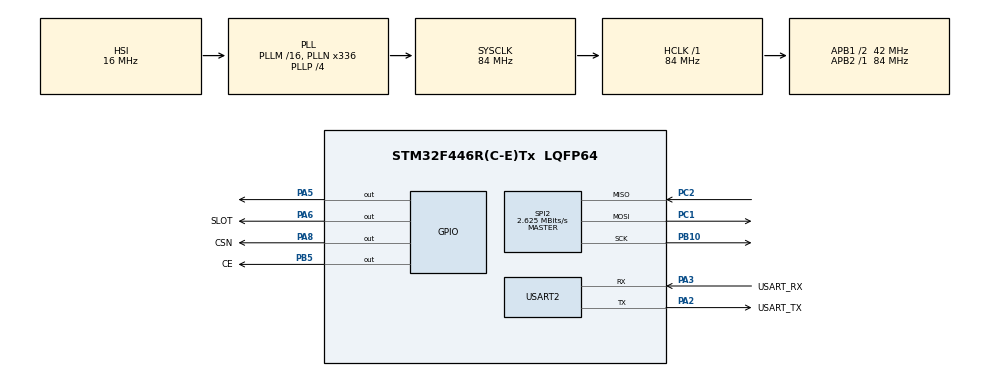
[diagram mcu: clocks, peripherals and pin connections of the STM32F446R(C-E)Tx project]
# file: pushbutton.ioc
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Mcu.Family=STM32F4
Mcu.Name=STM32F446R(C-E)Tx
Mcu.Package=LQFP64
NUCLEO-F446RE.BUTTON=0
NUCLEO-F446RE.Bsp_Common_DEMO=true
NUCLEO-F446RE.LD1=false
NVIC.PriorityGroup=NVIC_PRIORITYGROUP_0
NVIC.SPI2_IRQn=true\:0\:0\:false\:false\:true\:true\:true\:true
NVIC.TIM2_IRQn=true\:0\:0\:false\:false\:true\:true\:true\:true
PA13.GPIO_Label=TMS
PA13.Signal=SYS_JTMS-SWDIO
PA14.GPIO_Label=TCK
PA14.Signal=SYS_JTCK-SWCLK
PA2.GPIO_Label=USART_TX
PA2.Mode=Asynchronous
PA2.Signal=USART2_TX
PA3.GPIO_Label=USART_RX
PA3.Mode=Asynchronous
PA3.Signal=USART2_RX
PA5.Signal=GPIO_Output
PA6.GPIO_Label=SLOT
PA6.Signal=GPIO_Output
PA8.GPIO_Label=CSN
PA8.PinState=GPIO_PIN_SET
PA8.Signal=GPIO_Output
PB10.Mode=Full_Duplex_Master
PB10.Signal=SPI2_SCK
PB3.GPIO_Label=SWO
PB3.Signal=SYS_JTDO-SWO
PB5.GPIO_Label=CE
PB5.Signal=GPIO_Output
PC1.Mode=Full_Duplex_Master
PC1.Signal=SPI2_MOSI
PC14-OSC32_IN.Signal=RCC_OSC32_IN
PC15-OSC32_OUT.Signal=RCC_OSC32_OUT
PC2.Mode=Full_Duplex_Master
PC2.Signal=SPI2_MISO
PH0-OSC_IN.Signal=RCC_OSC_IN
PH1-OSC_OUT.Signal=RCC_OSC_OUT
ProjectManager.HeapSize=0x200
ProjectManager.StackSize=0x400
ProjectManager.TargetToolchain=CMake
RCC.AHBFreq_Value=84000000
RCC.APB1CLKDivider=RCC_HCLK_DIV2
RCC.APB1Freq_Value=42000000
RCC.APB1TimFreq_Value=84000000
RCC.APB2Freq_Value=84000000
RCC.APB2TimFreq_Value=84000000
RCC.CortexFreq_Value=84000000
RCC.FLatency-AdvancedSettings=FLASH_LATENCY_2
RCC.HCLKFreq_Value=84000000
RCC.HSE_VALUE=8000000
RCC.HSI_VALUE=16000000
RCC.LSE_VALUE=32768
RCC.PLLN=336
RCC.PLLP=RCC_PLLP_DIV4
RCC.SYSCLKFreq_VALUE=84000000
RCC.SYSCLKSource=RCC_SYSCLKSOURCE_PLLCLK
RCC.USBFreq_Value=168000000
RCC.VCOOutputFreq_Value=336000000
SPI2.BaudRatePrescaler=SPI_BAUDRATEPRESCALER_16
SPI2.CalculateBaudRate=2.625 MBits/s
SPI2.Direction=SPI_DIRECTION_2LINES
SPI2.Mode=SPI_MODE_MASTER
SPI2.VirtualType=VM_MASTER
TIM2.AutoReloadPreload=TIM_AUTORELOAD_PRELOAD_ENABLE
TIM2.Period=4294967295
TIM2.Prescaler=83
USART2.VirtualMode=VM_ASYNC
VP_NUCLEO-F446RE_VS_BSP_COMMON.Mode=COMMON
VP_TIM2_VS_ClockSourceINT.Mode=Internal
board=NUCLEO-F446RE

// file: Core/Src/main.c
/* USER CODE BEGIN Header */
/**
  ******************************************************************************
  * @file           : main.c
  * @brief          : Main program body
  ******************************************************************************
  * @attention
  *
  * Copyright (c) 2026 STMicroelectronics.
  * All rights reserved.
  *
  * This software is licensed under terms that can be found in the LICENSE file
  * in the root directory of this software component.
  * If no LICENSE file comes with this software, it is provided AS-IS.
  *
  ******************************************************************************
  */
/* USER CODE END Header */
#include "main.h"

/* USER CODE BEGIN Includes */
#include "main.h"
#include "stm32f4xx_hal.h"
#include "stm32f4xx_hal_def.h"
#include "stm32f4xx_hal_gpio.h"
#include "stm32f4xx_hal_spi.h"
#include <stdint.h>
#include <stdio.h>
#include "../../Net/Inc/packet.h"
#include "../../Radio/Inc/nrf24l01.h"
#include "../../Net/Inc/sync.h"

/* USER CODE END Includes */

/* USER CODE BEGIN PD */
#define NODE_ID 0 // transmitter = 0 and receivers = 1, 2

/* USER CODE END PD */

SPI_HandleTypeDef hspi2;

TIM_HandleTypeDef htim2;

UART_HandleTypeDef huart2;

/* USER CODE BEGIN PV */
static uint8_t tx_seq = 0;
/* USER CODE END PV */

void SystemClock_Config(void);
static void MX_GPIO_Init(void);
static void MX_TIM2_Init(void);
static void MX_USART2_UART_Init(void);
static void MX_SPI2_Init(void);

/* USER CODE BEGIN 0 */

void HAL_TIM_PeriodElapsedCallback(TIM_HandleTypeDef *htim) {
  if (htim->Instance == TIM2){
    HAL_GPIO_TogglePin(SLOT_GPIO_Port, SLOT_Pin);
  }
}

#if NODE_ID ==1

static uint8_t relay_packet(pkt_t pkt){

  uint8_t status;
  pkt.src = NODE_ID; // N1 will send this copy

  // to switch N1 to be a transmitter (to relay pckts to N2), we need to bring CE low, then bring it up later
  HAL_GPIO_WritePin(CE_GPIO_Port, CE_Pin, GPIO_PIN_RESET);

  // TRANSMIT MODE (prim_rx = 0 is transmit mode)
  nrf_write_reg(NRF_REG_CONFIG, NRF_CONFIG_EN_CRC | NRF_CONFIG_PWR_UP);

  //put packet in the TX FIFO, to be sent
  nrf_write_payload((const uint8_t *)&pkt, NRF24_PAYLOAD_LEN);

  // section 6.1.5 in datasheet
  // this pulse starts a TX send
  HAL_GPIO_WritePin(CE_GPIO_Port, CE_Pin, GPIO_PIN_SET);
  HAL_Delay(1);
  HAL_GPIO_WritePin(CE_GPIO_Port, CE_Pin, GPIO_PIN_RESET);

  uint32_t start = HAL_GetTick();
  // keep checking while packet is not sent yet & less than 10 ms have passed
  do {
    nrf_read_reg(NRF_REG_STATUS, &status);
  } while (!(status & NRF_STATUS_TX_DS) && (HAL_GetTick() - start) < 10);

  uint8_t ok = (status & NRF_STATUS_TX_DS) ? 1 : 0;
  if (!ok) {
    nrf_cmd(NRF_FLUSH_TX);
  }
  nrf_write_reg(NRF_REG_STATUS, NRF_STATUS_TX_DS); // write 1 to clear

  // go back to RX mode
  nrf_write_reg(NRF_REG_CONFIG, NRF_CONFIG_EN_CRC | NRF_CONFIG_PWR_UP | NRF_CONFIG_PRIM_RX);
  HAL_GPIO_WritePin(CE_GPIO_Port, CE_Pin, GPIO_PIN_SET);
  return ok;

}

#endif

/* USER CODE END 0 */

int main(void)
{

  /* MCU Configuration--------------------------------------------------------*/

  /* Reset of all peripherals, Initializes the Flash interface and the Systick. */
  HAL_Init();

  /* Configure the system clock */
  SystemClock_Config();

  /* Initialize all configured peripherals */
  MX_GPIO_Init();
  MX_TIM2_Init();
  MX_USART2_UART_Init();
  MX_SPI2_Init();
  /* USER CODE BEGIN 2 */

  HAL_Delay(100);

  if (nrf_init(&hspi2) != HAL_OK) {
    const char msg[] = "nrf_init FAILED\r\n";
    HAL_UART_Transmit(&huart2, (uint8_t *)msg, sizeof(msg) - 1, 100);
  }

  // Primary transmitter (PTX) address and receive address data pipe 0
   const uint8_t addr[5] = {0xE7, 0xE7, 0xE7, 0xE7, 0xE7};

  // radio config, same on board boards eexcept CONFIG and CE
  nrf_write_reg(NRF_REG_CONFIG, 0x00); // power radio down while changing settins
  nrf_write_reg(NRF_REG_RF_CH, 0x2A);
  nrf_write_reg(NRF_REG_RF_SETUP, 0x06);
  nrf_write_reg(NRF_REG_SETUP_AW, 0x03); // set to 5 byte addresses
  nrf_write_reg(NRF_REG_EN_AA, 0x00); // Tturn auto ack off. just broadcast w no replies
  nrf_write_reg(NRF_REG_EN_RXADDR, 0x01); // enable pipe 0 only
  nrf_write_reg(NRF_REG_SETUP_RETR, 0x00); // no retransmits

  nrf_write_buf(NRF_REG_TX_ADDR, addr, 5);      // who we send to
  nrf_write_buf(NRF_REG_RX_ADDR_P0, addr, 5);   // same address: RX listens here, TX hears its ack here
  nrf_write_reg(NRF_REG_RX_PW_P0, NRF24_PAYLOAD_LEN);

  nrf_cmd(NRF_FLUSH_TX);
  nrf_cmd(NRF_FLUSH_RX);
  nrf_write_reg(NRF_REG_STATUS, NRF_STATUS_RX_DR | NRF_STATUS_TX_DS | NRF_STATUS_MAX_RT);

  // Power radio on for both boards!
  #if NODE_ID == 0
    nrf_write_reg(NRF_REG_CONFIG, NRF_CONFIG_EN_CRC | NRF_CONFIG_PWR_UP);
    HAL_Delay(2); // POWER up time is about 1.5ms
  #else
    // set primary receiver bits
    nrf_write_reg(NRF_REG_CONFIG, NRF_CONFIG_EN_CRC | NRF_CONFIG_PWR_UP | NRF_CONFIG_PRIM_RX);
    HAL_Delay(2);
    HAL_GPIO_WritePin(CE_GPIO_Port, CE_Pin, GPIO_PIN_SET);   // start listening, leave high
  #endif

  uint8_t cfg, ch, pw;
  nrf_read_reg(NRF_REG_CONFIG, &cfg);
  nrf_read_reg(NRF_REG_RF_CH, &ch);
  nrf_read_reg(NRF_REG_RX_PW_P0, &pw);
  char msg[64];
  int len = snprintf(msg, sizeof msg, "N%d CONFIG=0x%02X RF_CH=0x%02X RX_PW_P0=%u\r\n",
                     NODE_ID, cfg, ch, pw);
  HAL_UART_Transmit(&huart2, (uint8_t *)msg, len, 100);

  HAL_TIM_Base_Start_IT(&htim2);
  sync_init(NODE_ID);

  /* USER CODE END 2 */

  /* USER CODE BEGIN BSP */

  /* -- Sample board code to switch on leds ---- */
  BSP_LED_On(LED2);

  /* USER CODE END BSP */

  /* Infinite loop */
  while (1)
  {

    /* USER CODE BEGIN 3 */

    uint8_t status;

    #if NODE_ID == 0
      //uint8_t payload[NRF24_PAYLOAD_LEN] = {1,2,3,4};
      pkt_t pkt;
      pkt.type = PKT_BEACON;
      pkt.src = NODE_ID;
      pkt.origin = NODE_ID;
      pkt.seq = tx_seq++;

      nrf_write_payload((const uint8_t *)&pkt, NRF24_PAYLOAD_LEN);

      HAL_GPIO_WritePin(CE_GPIO_Port, CE_Pin, GPIO_PIN_SET );
      HAL_Delay(1);
      HAL_GPIO_WritePin(CE_GPIO_Port, CE_Pin, GPIO_PIN_RESET );

      uint32_t start = HAL_GetTick();
      do {
        nrf_read_reg(NRF_REG_STATUS, &status);
      } while (!(status & (NRF_STATUS_TX_DS | NRF_STATUS_MAX_RT)) && (HAL_GetTick() - start)<10);

      if (status & NRF_STATUS_TX_DS) {
        char msg[48];
        int len = snprintf(msg, sizeof msg, "TX seq=%u t=%lu\r\n",
                          pkt.seq, (unsigned long)sync_now_us());
        HAL_UART_Transmit(&huart2, (uint8_t *)msg, len, 100);

      } else if (status & NRF_STATUS_MAX_RT){
        const char msg[] = "MAX number of retransmits \r\n";
        HAL_UART_Transmit(&huart2, (uint8_t *)msg, sizeof(msg) - 1, 100);
        nrf_cmd(NRF_FLUSH_TX); // failed packet still in outbox

      } else {
        const char msg[] = " Timeout. Neither light came on \r\n";
        HAL_UART_Transmit(&huart2, (uint8_t *)msg, sizeof(msg) - 1, 100);

      }
      //status reg is write 1 to clear
      nrf_write_reg(NRF_REG_STATUS, NRF_STATUS_TX_DS | NRF_STATUS_MAX_RT); //clear both of the TX flags
      HAL_Delay(500);
    #else
    // if the board is the RX board
      nrf_read_reg(NRF_REG_STATUS, &status);
      if( status & NRF_STATUS_RX_DR) {
        // copy of radio's 1-byte status register for FIFO info
        uint8_t fifo;
        do {
          pkt_t pkt;
          nrf_read_payload((uint8_t *)&pkt, NRF24_PAYLOAD_LEN);
          nrf_write_reg(NRF_REG_STATUS, NRF_STATUS_RX_DR);

          uint8_t accept = (NODE_ID != 2) || (pkt.src == 1); // Node 2 can only receive txed pckts from N1
          if (accept) {
            const char *note = "";
            # if NODE_ID == 1
            if (pkt.src == 0){
              note = relay_packet(pkt) ? " Relay successful" : " Relay failed";
            }
            #endif
            char msg[64];
            int len = snprintf(msg, sizeof msg, "RX type=%u src=%u origin=%u seq=%u%s\r\n",
                              pkt.type, pkt.src, pkt.origin, pkt.seq, note);
            HAL_UART_Transmit(&huart2, (uint8_t *)msg, len, 100);
          }
          nrf_read_reg(NRF_REG_FIFO_STATUS, &fifo); // reads if FIFO is empty or not, but in FIFO
        } while (!(fifo & NRF_FIFO_RX_EMPTY)); // if fifo not empty, repeat
      }
    #endif

  }
  /* USER CODE END 3 */
}

void SystemClock_Config(void)
{
  RCC_OscInitTypeDef RCC_OscInitStruct = {0};
  RCC_ClkInitTypeDef RCC_ClkInitStruct = {0};

  /** Configure the main internal regulator output voltage
  */
  __HAL_RCC_PWR_CLK_ENABLE();
  __HAL_PWR_VOLTAGESCALING_CONFIG(PWR_REGULATOR_VOLTAGE_SCALE3);

  /** Initializes the RCC Oscillators according to the specified parameters
  * in the RCC_OscInitTypeDef structure.
  */
  RCC_OscInitStruct.OscillatorType = RCC_OSCILLATORTYPE_HSI;
  RCC_OscInitStruct.HSIState = RCC_HSI_ON;
  RCC_OscInitStruct.HSICalibrationValue = RCC_HSICALIBRATION_DEFAULT;
  RCC_OscInitStruct.PLL.PLLState = RCC_PLL_ON;
  RCC_OscInitStruct.PLL.PLLSource = RCC_PLLSOURCE_HSI;
  RCC_OscInitStruct.PLL.PLLM = 16;
  RCC_OscInitStruct.PLL.PLLN = 336;
  RCC_OscInitStruct.PLL.PLLP = RCC_PLLP_DIV4;
  RCC_OscInitStruct.PLL.PLLQ = 2;
  RCC_OscInitStruct.PLL.PLLR = 2;
  if (HAL_RCC_OscConfig(&RCC_OscInitStruct) != HAL_OK)
  {
    Error_Handler();
  }

  /** Initializes the CPU, AHB and APB buses clocks
  */
  RCC_ClkInitStruct.ClockType = RCC_CLOCKTYPE_HCLK|RCC_CLOCKTYPE_SYSCLK
                              |RCC_CLOCKTYPE_PCLK1|RCC_CLOCKTYPE_PCLK2;
  RCC_ClkInitStruct.SYSCLKSource = RCC_SYSCLKSOURCE_PLLCLK;
  RCC_ClkInitStruct.AHBCLKDivider = RCC_SYSCLK_DIV1;
  RCC_ClkInitStruct.APB1CLKDivider = RCC_HCLK_DIV2;
  RCC_ClkInitStruct.APB2CLKDivider = RCC_HCLK_DIV1;

  if (HAL_RCC_ClockConfig(&RCC_ClkInitStruct, FLASH_LATENCY_2) != HAL_OK)
  {
    Error_Handler();
  }
}

static void MX_SPI2_Init(void)
{

  /* SPI2 parameter configuration*/
  hspi2.Instance = SPI2;
  hspi2.Init.Mode = SPI_MODE_MASTER;
  hspi2.Init.Direction = SPI_DIRECTION_2LINES;
  hspi2.Init.DataSize = SPI_DATASIZE_8BIT;
  hspi2.Init.CLKPolarity = SPI_POLARITY_LOW;
  hspi2.Init.CLKPhase = SPI_PHASE_1EDGE;
  hspi2.Init.NSS = SPI_NSS_SOFT;
  hspi2.Init.BaudRatePrescaler = SPI_BAUDRATEPRESCALER_16;
  hspi2.Init.FirstBit = SPI_FIRSTBIT_MSB;
  hspi2.Init.TIMode = SPI_TIMODE_DISABLE;
  hspi2.Init.CRCCalculation = SPI_CRCCALCULATION_DISABLE;
  hspi2.Init.CRCPolynomial = 10;
  if (HAL_SPI_Init(&hspi2) != HAL_OK)
  {
    Error_Handler();
  }

}

static void MX_TIM2_Init(void)
{

  TIM_ClockConfigTypeDef sClockSourceConfig = {0};
  TIM_MasterConfigTypeDef sMasterConfig = {0};

  htim2.Instance = TIM2;
  htim2.Init.Prescaler = 83;
  htim2.Init.CounterMode = TIM_COUNTERMODE_UP;
  htim2.Init.Period = 4294967295;
  htim2.Init.ClockDivision = TIM_CLOCKDIVISION_DIV1;
  htim2.Init.AutoReloadPreload = TIM_AUTORELOAD_PRELOAD_ENABLE;
  if (HAL_TIM_Base_Init(&htim2) != HAL_OK)
  {
    Error_Handler();
  }
  sClockSourceConfig.ClockSource = TIM_CLOCKSOURCE_INTERNAL;
  if (HAL_TIM_ConfigClockSource(&htim2, &sClockSourceConfig) != HAL_OK)
  {
    Error_Handler();
  }
  sMasterConfig.MasterOutputTrigger = TIM_TRGO_RESET;
  sMasterConfig.MasterSlaveMode = TIM_MASTERSLAVEMODE_DISABLE;
  if (HAL_TIMEx_MasterConfigSynchronization(&htim2, &sMasterConfig) != HAL_OK)
  {
    Error_Handler();
  }

}

static void MX_USART2_UART_Init(void)
{

  huart2.Instance = USART2;
  huart2.Init.BaudRate = 115200;
  huart2.Init.WordLength = UART_WORDLENGTH_8B;
  huart2.Init.StopBits = UART_STOPBITS_1;
  huart2.Init.Parity = UART_PARITY_NONE;
  huart2.Init.Mode = UART_MODE_TX_RX;
  huart2.Init.HwFlowCtl = UART_HWCONTROL_NONE;
  huart2.Init.OverSampling = UART_OVERSAMPLING_16;
  if (HAL_UART_Init(&huart2) != HAL_OK)
  {
    Error_Handler();
  }

}

static void MX_GPIO_Init(void)
{
  GPIO_InitTypeDef GPIO_InitStruct = {0};

  /* GPIO Ports Clock Enable */
  __HAL_RCC_GPIOC_CLK_ENABLE();
  __HAL_RCC_GPIOH_CLK_ENABLE();
  __HAL_RCC_GPIOA_CLK_ENABLE();
  __HAL_RCC_GPIOB_CLK_ENABLE();

  /*Configure GPIO pin Output Level */
  HAL_GPIO_WritePin(GPIOA, GPIO_PIN_5|SLOT_Pin, GPIO_PIN_RESET);

  /*Configure GPIO pin Output Level */
  HAL_GPIO_WritePin(CSN_GPIO_Port, CSN_Pin, GPIO_PIN_SET);

  /*Configure GPIO pin Output Level */
  HAL_GPIO_WritePin(CE_GPIO_Port, CE_Pin, GPIO_PIN_RESET);

  /*Configure GPIO pins : PA5 SLOT_Pin CSN_Pin */
  GPIO_InitStruct.Pin = GPIO_PIN_5|SLOT_Pin|CSN_Pin;
  GPIO_InitStruct.Mode = GPIO_MODE_OUTPUT_PP;
  GPIO_InitStruct.Pull = GPIO_NOPULL;
  GPIO_InitStruct.Speed = GPIO_SPEED_FREQ_LOW;
  HAL_GPIO_Init(GPIOA, &GPIO_InitStruct);

  /*Configure GPIO pin : CE_Pin */
  GPIO_InitStruct.Pin = CE_Pin;
  GPIO_InitStruct.Mode = GPIO_MODE_OUTPUT_PP;
  GPIO_InitStruct.Pull = GPIO_NOPULL;
  GPIO_InitStruct.Speed = GPIO_SPEED_FREQ_LOW;
  HAL_GPIO_Init(CE_GPIO_Port, &GPIO_InitStruct);

}

void Error_Handler(void)
{
  __disable_irq();
  while (1)
  {
  }
}
